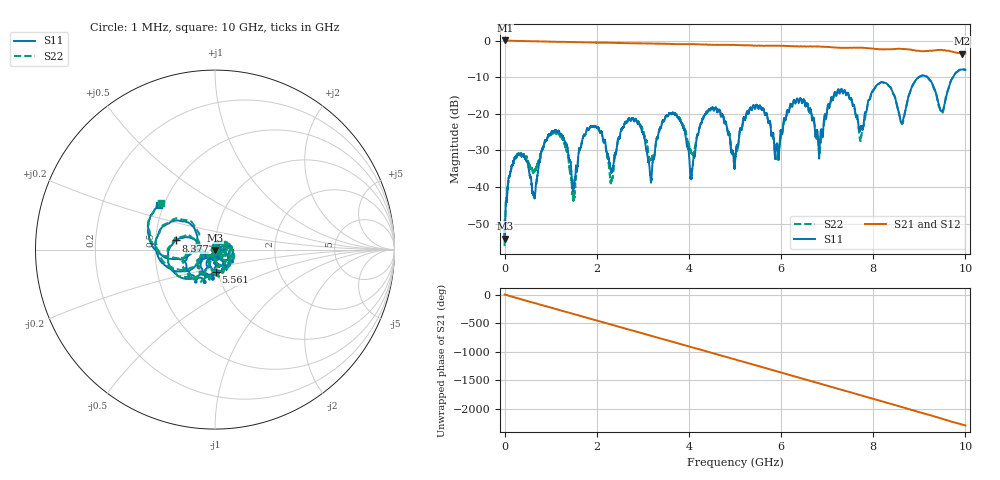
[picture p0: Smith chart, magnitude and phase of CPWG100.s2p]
! 3/21/2017 9:33:06 AM
! F:\HUSERTL_20170321\CPWG100.S2P
! CHANNEL.1
! TR.MEASUREMENT
! CORRECTED.DATA
# GHZ S RI R 50.0
! FREQ.GHZ  S11RE  S11IM  S31RE  S31IM  S13RE  S13IM  S33RE  S33IM
!; PortSelection: Port_13
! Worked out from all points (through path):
!   10000 points, 1 MHz to 10 GHz, reference 50 ohm
!   highest |S21| = 0.04 dB at 10 MHz (marker M1); lowest = -3.5 dB at 9.924 GHz (marker M2)
!   group delay of S21, straight-line fit = 636 ps
!   lowest |S11| = -54.1 dB at 3 MHz (marker M3), VSWR 1.00, Z = 50 - j0.195 ohm
!   |S11| at or under -10 dB: start of sweep to 8.983 GHz; 9.182 GHz to 9.729 GHz (547.7 MHz wide, 5.79 % of centre)
!   |S22| runs from -56.2 to -7.8 dB; largest |S21 - S12| = 0.044
!   S11 on the Smith chart (normalised r, x): 1 MHz: 1.01, +0.00; 5.561 GHz: 0.98, -0.24; 8.377 GHz: 0.64, +0.07; 10 GHz: 0.48, +0.28
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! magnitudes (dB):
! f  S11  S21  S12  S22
! 1 MHz  -50.6  0.0  0.0  -56.2
! 3 MHz  -54.1  0.0  0.0  -50.2
! 10 MHz  -51.9  0.0  0.0  -50.9
! 268 MHz  -31.3  -0.1  -0.1  -31.7
! 641 MHz  -42.2  -0.2  -0.2  -35.8
! 1.15 GHz  -24.8  -0.3  -0.4  -25.4
! 1.498 GHz  -40.0  -0.4  -0.4  -43.0
! 1.668 GHz  -28.5  -0.4  -0.5  -28.0
! 2.319 GHz  -36.0  -0.6  -0.6  -38.3
! 3.334 GHz  -25.8  -0.8  -0.8  -25.9
! 3.712 GHz  -20.3  -1.0  -1.0  -20.0
! 4.061 GHz  -36.7  -1.0  -1.0  -30.8
! 4.55 GHz  -19.0  -1.1  -1.2  -18.8
! 5.001 GHz  -33.3  -1.2  -1.2  -31.5
! 5.561 GHz  -18.2  -1.4  -1.4  -18.3
! 5.911 GHz  -28.3  -1.4  -1.4  -32.2
! 6.667 GHz  -21.2  -1.6  -1.7  -20.3
! 7.737 GHz  -23.4  -2.0  -2.0  -26.7
! 8.334 GHz  -12.3  -2.4  -2.4  -12.4
! 8.377 GHz  -12.9  -2.4  -2.4  -12.7
! 9.924 GHz  -7.9  -3.5  -3.5  -7.9
! 10 GHz  -8.0  -3.5  -3.5  -8.0
